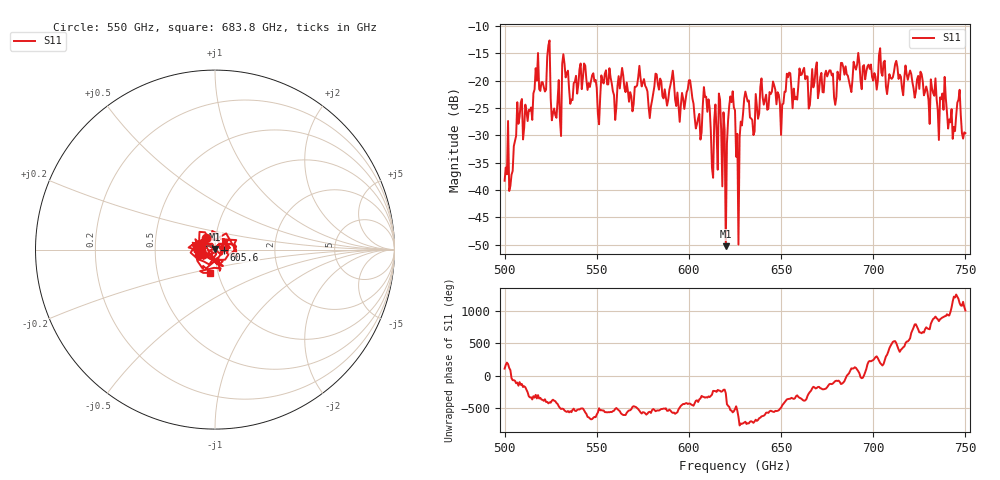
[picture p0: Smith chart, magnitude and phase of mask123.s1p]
!Created with skrf (http://scikit-rf.org).
# GHz S MA R 50.0
!freq magS11 angS11
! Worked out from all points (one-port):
!   401 points, 500 GHz to 750 GHz, reference 50 ohm
!   lowest |S11| = -50.3 dB at 620 GHz (marker M1), VSWR 1.01, Z = 50 + j0.305 ohm
!   |S11| at or under -10 dB: start of sweep to end of sweep
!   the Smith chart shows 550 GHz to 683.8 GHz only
!   S11 on the Smith chart (normalised r, x): 550 GHz: 0.89, +0.12; 605.6 GHz: 1.10, -0.00; 683.8 GHz: 0.91, -0.24
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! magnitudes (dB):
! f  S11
! 500 GHz  -38.3
! 516.9 GHz  -17.7
! 523.8 GHz  -13.5
! 526.9 GHz  -25.1
! 531.2 GHz  -16.9
! 542.5 GHz  -19.4
! 550 GHz  -21.4
! 562.5 GHz  -21.4
! 593.8 GHz  -22.2
! 600 GHz  -19.9
! 605.6 GHz  -26.1
! 609.4 GHz  -22.9
! 612.5 GHz  -35.9
! 615.6 GHz  -36.3
! 620 GHz  -50.3
! 622.5 GHz  -22.9
! 625 GHz  -25.4
! 626.9 GHz  -50.0
! 631.2 GHz  -22.9
! 634.4 GHz  -27.2
! 640 GHz  -23.0
! 656.2 GHz  -25.0
! 683.8 GHz  -17.5
! 687.5 GHz  -21.1
! 718.8 GHz  -19.8
! 743.1 GHz  -30.6
! 746.2 GHz  -23.5
! 750 GHz  -29.6
